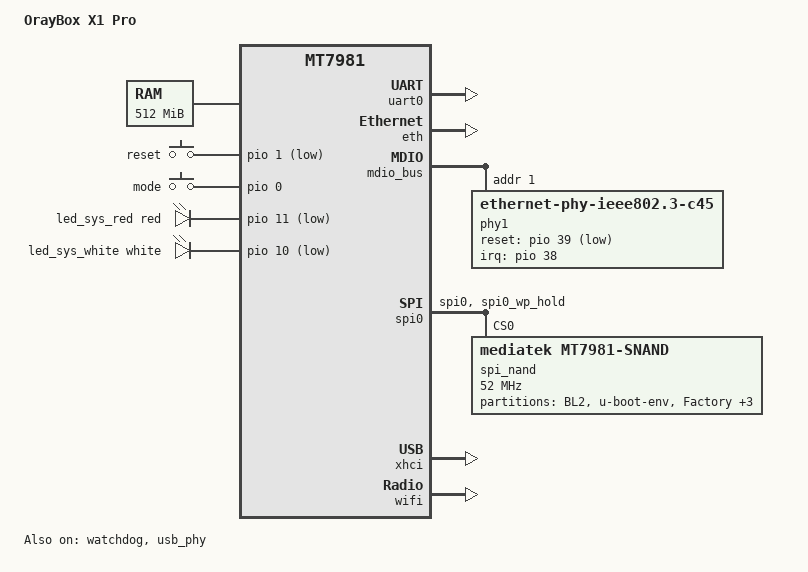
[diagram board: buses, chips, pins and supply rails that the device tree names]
// SPDX-License-Identifier: GPL-2.0-or-later
// OpenWrt kernel DTS for Oray X1 Pro (ubootmod)
// Reference: liangcanming/bl-mt798x-dhcpd uboot-mtk-20250711

/dts-v1/;
#include "mt7981.dtsi"
#include <dt-bindings/gpio/gpio.h>
#include <dt-bindings/input/linux-event-codes.h>
#include <dt-bindings/leds/common.h>

/ {
	#address-cells = <1>;
	#size-cells = <1>;

	model = "OrayBox X1 Pro";
	compatible = "oray,x1_pro", "mediatek,mt7981";

	aliases {
		label-mac-device = &gmac1;
		led-boot = &led_sys_white;
		led-failsafe = &led_sys_red;
		led-running = &led_sys_white;
		led-upgrade = &led_sys_white;
		serial0 = &uart0;
	};

	chosen {
		stdout-path = "serial0:115200n8";
	};

	config {
		bootcmd = "mtkboardboot";
		blink_led = "white:status";
		system_led = "red:power";
	};

	memory@40000000 {
		device_type = "memory";
		reg = <0x40000000 0x20000000>;
	};

	mtd-layout {
		layout@0 {
			label = "default";
			mtdids = "nmbm0=nmbm0";
			mtdparts = "nmbm0:1024k(bl2),512k(u-boot-env),2048k(factory),2048k(fip),512k(bdinfo),2048k(kpanic),56m(ubi_0),56m(ubi_1)";
		};

		layout@1 {
			label = "x1pro-mod-112m";
			mtdids = "nmbm0=nmbm0";
			mtdparts = "nmbm0:1024k(bl2),512k(u-boot-env),2048k(factory),2048k(fip),512k(bdinfo),2048k(kpanic),114688k(ubi_0)";
		};

		layout@3 {
			label = "x1pro-256m-228m";
			mtdids = "nmbm0=nmbm0";
			mtdparts = "nmbm0:1024k(bl2),512k(u-boot-env),2048k(factory),2048k(fip),512k(bdinfo),2048k(kpanic),233472k(ubi_0)";
		};

		layout@4 {
			label = "x1pro-512m-488m";
			mtdids = "nmbm0=nmbm0";
			mtdparts = "nmbm0:1024k(bl2),512k(u-boot-env),2048k(factory),2048k(fip),512k(bdinfo),2048k(kpanic),499712k(ubi_0)";
		};

		layout@6 {
			label = "tr3000-mod-112m";
			mtdids = "nmbm0=nmbm0";
			mtdparts = "nmbm0:1024k(bl2),512k(u-boot-env),2048k(Factory),256k(bdinfo),2048k(fip),114688k(ubi)";
		};

		layout@7 {
			label = "tr3000-max-114m";
			mtdids = "nmbm0=nmbm0";
			mtdparts = "nmbm0:1024k(bl2),512k(u-boot-env),2048k(factory),256k(bdinfo),2048k(fip),116736k(ubi)";
		};

		layout@8 {
			label = "tr3000-256m-230m";
			mtdids = "nmbm0=nmbm0";
			mtdparts = "nmbm0:1024k(bl2),512k(u-boot-env),2048k(factory),256k(bdinfo),2048k(fip),235520k(ubi)";
		};

		layout@9 {
			label = "tr3000-512m-490m";
			mtdids = "nmbm0=nmbm0";
			mtdparts = "nmbm0:1024k(bl2),512k(u-boot-env),2048k(factory),256k(bdinfo),2048k(fip),501760k(ubi)";
		};
	};

	gpio-keys {
		compatible = "gpio-keys";

		button-reset {
			label = "reset";
			linux,code = <KEY_RESTART>;
			gpios = <&pio 1 GPIO_ACTIVE_LOW>;
		};

		button-mode {
			label = "mode";
			linux,code = <EV_SW>;
			linux,input-type = <BTN_0>;
			gpios = <&pio 0 GPIO_ACTIVE_HIGH>;
			debounce-interval = <60>;
		};
	};

	leds {
		compatible = "gpio-leds";

		led_sys_red: led-0 {
			function = LED_FUNCTION_POWER;
			color = <LED_COLOR_ID_RED>;
			gpios = <&pio 11 GPIO_ACTIVE_LOW>;
		};

		led_sys_white: led-1 {
			function = LED_FUNCTION_STATUS;
			color = <LED_COLOR_ID_WHITE>;
			gpios = <&pio 10 GPIO_ACTIVE_LOW>;
		};
	};
};

&uart0 {
	status = "okay";
};

&watchdog {
	status = "okay";
};

&eth {
	pinctrl-names = "default";
	pinctrl-0 = <&mdio_pins>;
	status = "okay";

	gmac0: mac@0 {
		compatible = "mediatek,eth-mac";
		reg = <0>;
		phy-mode = "2500base-x";
		phy-handle = <&phy1>;
		nvmem-cell-names = "mac-address";
		nvmem-cells = <&macaddr_bdinfo_de00 1>;
	};

	gmac1: mac@1 {
		compatible = "mediatek,eth-mac";
		reg = <1>;
		phy-mode = "gmii";
		phy-handle = <&int_gbe_phy>;
		nvmem-cell-names = "mac-address";
		nvmem-cells = <&macaddr_bdinfo_de00 0>;
	};
};

&mdio_bus {
	phy1: phy@1 {
		compatible = "ethernet-phy-ieee802.3-c45";
		reg = <1>;
		reset-assert-us = <100000>;
		reset-deassert-us = <100000>;
		reset-gpios = <&pio 39 GPIO_ACTIVE_LOW>;
		interrupts = <38 IRQ_TYPE_LEVEL_LOW>;
		interrupt-parent = <&pio>;
		realtek,aldps-enable;
	};
};

&spi0 {
	pinctrl-names = "default";
	pinctrl-0 = <&spi_flash_pins>;
	status = "okay";

	spi_nand: flash@0 {
		#address-cells = <1>;
		#size-cells = <1>;
		compatible = "mediatek,mt7981-snand", "mediatek,mtk-nmbm", "spi-nand";
		reg = <0>;
		spi-max-frequency = <52000000>;
		spi-tx-bus-width = <4>;
		spi-rx-bus-width = <4>;

		partitions {
			compatible = "fixed-partitions";
			#address-cells = <1>;
			#size-cells = <1>;

			partition@0 {
				label = "BL2";
				reg = <0x00000 0x0100000>;
				read-only;
			};

			partition@100000 {
				label = "u-boot-env";
				reg = <0x0100000 0x0080000>;
				read-only;
			};

			factory: partition@180000 {
				label = "Factory";
				reg = <0x0180000 0x0200000>;
				read-only;

				nvmem-layout {
					compatible = "fixed-layout";
					#address-cells = <1>;
					#size-cells = <1>;

					eeprom_factory_0: eeprom@0 {
						reg = <0x0 0x1000>;
					};

					macaddr_bdinfo_de00: macaddr@de00 {
						compatible = "mac-base";
						reg = <0xde00 0x6>;
						#nvmem-cell-cells = <1>;
					};
				};
			};

			partition@380000 {
				label = "bdinfo";
				reg = <0x0380000 0x0040000>;
				read-only;
			};

			partition@3c0000 {
				label = "FIP";
				reg = <0x03c0000 0x0200000>;
				read-only;
			};

			partition@5c0000 {
				label = "ubi";
				reg = <0x05c0000 0x7000000>;
				compatible = "linux,ubi";
			};
		};
	};
};

&pio {
	spi_flash_pins: spi0-pins {
		mux {
			function = "spi";
			groups = "spi0", "spi0_wp_hold";
		};
	};

	// mdio_pins 已由 mt7981.dtsi 提供，此处不重复定义
};

&usb_phy {
	status = "okay";
};

&xhci {
	status = "okay";
};

&wifi {
	status = "okay";
	nvmem-cells = <&eeprom_factory_0>;
	nvmem-cell-names = "eeprom";
};
